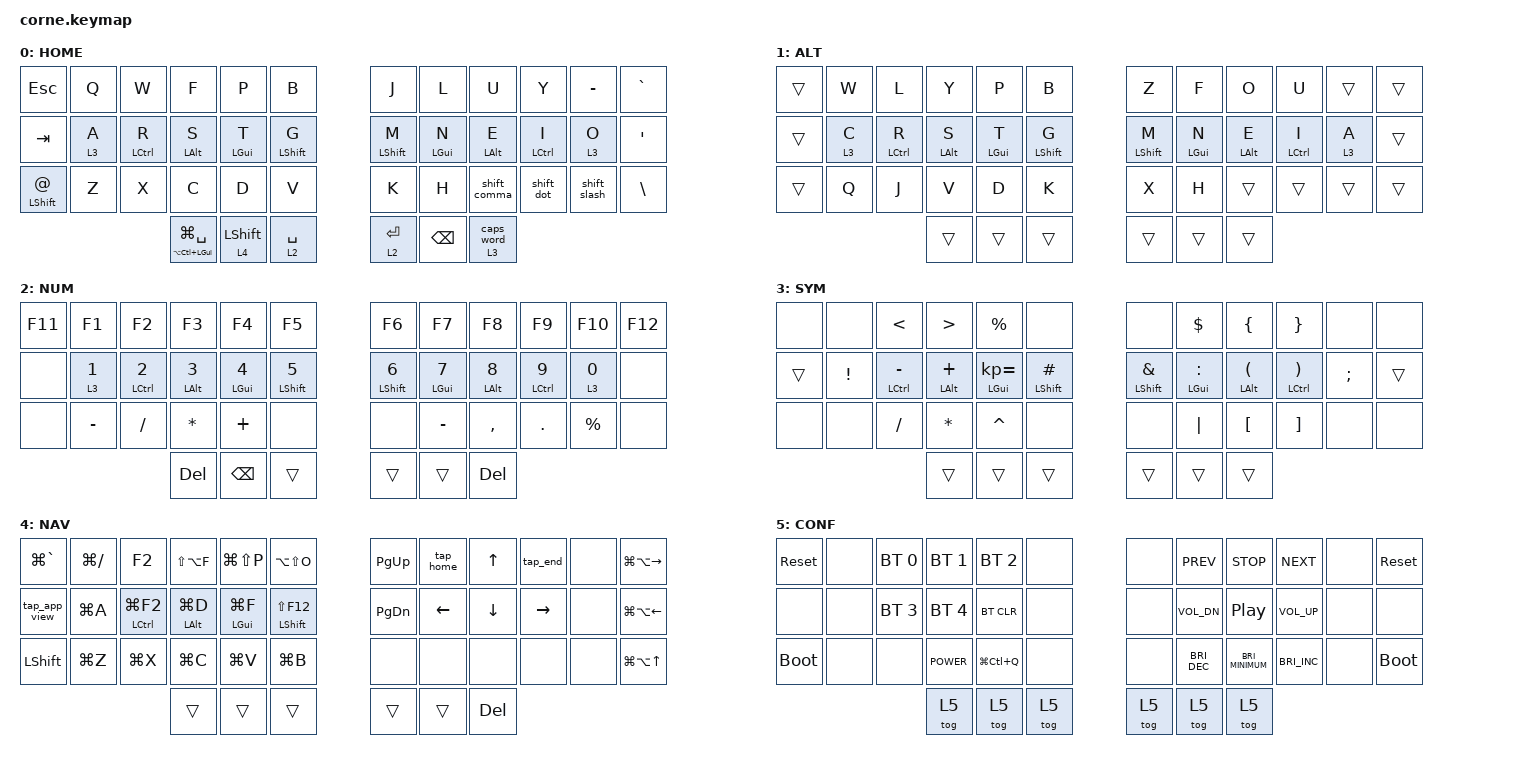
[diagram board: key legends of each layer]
/*
 * Copyright (c) 2020 The ZMK Contributors
 *
 * SPDX-License-Identifier: MIT
 */

#include <behaviors.dtsi>
#include <dt-bindings/zmk/bt.h>
#include <dt-bindings/zmk/keys.h>

/ {
    combos {
        compatible = "zmk,combos";

        activate_config_layer {
            bindings = <&mo 5>;
            key-positions = <37 40>;
            layers = <0>;
        };

        activate_config_layer_left {
            bindings = <&to 5>;
            key-positions = <36 37 38>;
        };

        activate_config_layer_right {
            bindings = <&to 5>;
            key-positions = <39 40 41>;
        };

        toggle_alt_layout {
            bindings = <&tog 2>;
            key-positions = <0 11>;
            layers = <5>;
        };

        chord_num_1 {
            bindings = <&kp NUMBER_1>;
            key-positions = <13 1>;
            layers = <0>;
        };

        chord_num_2 {
            bindings = <&kp NUMBER_2>;
            key-positions = <14 2>;
            layers = <0>;
        };

        chord_num_3 {
            bindings = <&kp NUMBER_3>;
            key-positions = <15 3>;
            layers = <0>;
        };

        chord_num_4 {
            bindings = <&kp NUMBER_4>;
            key-positions = <16 4>;
            layers = <0>;
        };

        chord_num_5 {
            bindings = <&kp NUMBER_5>;
            key-positions = <17 5>;
            layers = <0>;
        };

        chord_num_6 {
            bindings = <&kp NUMBER_6>;
            key-positions = <18 6>;
            layers = <0>;
        };

        chord_num_7 {
            bindings = <&kp NUMBER_7>;
            key-positions = <19 7>;
            layers = <0>;
        };

        chord_num_8 {
            bindings = <&kp NUMBER_8>;
            key-positions = <20 8>;
            layers = <0>;
        };

        chord_num_9 {
            bindings = <&kp NUMBER_9>;
            key-positions = <21 9>;
            layers = <0>;
        };

        chord_num_0 {
            bindings = <&kp NUMBER_0>;
            key-positions = <22 10>;
            layers = <0>;
        };
    };

    behaviors {
        hrr_mod: hrr_mod {
            compatible = "zmk,behavior-hold-tap";
            label = "Home Row Mods - Right";
            bindings = <&kp>, <&kp>;

            #binding-cells = <2>;
            hold-trigger-on-release;
            tapping-term-ms = <280>;
            quick-tap-ms = <175>;
            hold-trigger-key-positions = <0 1 2 4 5 12 13 14 15 16 17 24 25 26 27 28 29 3 36 37 38 39 40 41>;
            flavor = "balanced";
            require-prior-idle-ms = <150>;
        };

        hrl_mod: hrl_mod {
            compatible = "zmk,behavior-hold-tap";
            label = "Home Row Mods - Left";
            bindings = <&kp>, <&kp>;

            #binding-cells = <2>;
            flavor = "balanced";
            tapping-term-ms = <280>;
            quick-tap-ms = <175>;
            require-prior-idle-ms = <150>;
            hold-trigger-key-positions = <6 7 8 9 10 11 18 19 20 21 22 23 30 31 32 33 34 35 36 37 38 39 40 41>;
            hold-trigger-on-release;
        };

        hrr_layer: hrr_layer {
            compatible = "zmk,behavior-hold-tap";
            label = "Home Row Layer - Right";
            bindings = <&mo>, <&kp>;

            #binding-cells = <2>;
            tapping-term-ms = <250>;
            quick-tap-ms = <175>;
            hold-trigger-key-positions = <0 1 2 4 5 12 13 14 15 16 17 24 25 26 27 28 29 3>;
            flavor = "balanced";
            require-prior-idle-ms = <100>;
        };

        hrl_layer: hrl_layer {
            compatible = "zmk,behavior-hold-tap";
            label = "Home Row Layer - Left";
            bindings = <&mo>, <&kp>;

            #binding-cells = <2>;
            flavor = "balanced";
            tapping-term-ms = <250>;
            quick-tap-ms = <175>;
            require-prior-idle-ms = <100>;
            hold-trigger-key-positions = <6 7 8 9 10 11 18 19 20 21 22 23 30 31 32 33 34 35>;
        };

        shift_comma: shift_comma {
            compatible = "zmk,behavior-mod-morph";
            label = "SHIFT_COMMA";
            bindings = <&kp COMMA>, <&kp QUESTION>;

            #binding-cells = <0>;
            mods = <(MOD_LSFT|MOD_RSFT)>;
        };

        shift_dot: shift_dot {
            compatible = "zmk,behavior-mod-morph";
            label = "SHIFT_DOT";
            bindings = <&kp PERIOD>, <&kp EXCLAMATION>;

            #binding-cells = <0>;
            mods = <(MOD_LSFT|MOD_RSFT)>;
        };

        shift_slash: shift_slash {
            compatible = "zmk,behavior-mod-morph";
            label = "SHIFT_SLASH";
            bindings = <&kp SLASH>, <&kp AMPS>;

            #binding-cells = <0>;
            mods = <(MOD_LSFT|MOD_RSFT)>;
        };

        shift_at: shift_at {
            compatible = "zmk,behavior-mod-morph";
            label = "SHIFT_AT";
            bindings = <&kp AT>, <&username>;

            #binding-cells = <0>;
            mods = <(MOD_RSFT|MOD_LSFT)>;
        };

        tap_shift: tap_shift {
            compatible = "zmk,behavior-tap-dance";
            label = "TAP_SHIFT";
            #binding-cells = <0>;
            bindings = <&sk LEFT_SHIFT>, <&caps_word>;
        };

        tap_symbol: tap_symbol {
            compatible = "zmk,behavior-tap-dance";
            label = "TAP_SYMBOL";
            #binding-cells = <0>;
            bindings = <&sl 3>, <&tog 3>;
        };

        tap_bracket_left: tap_bracket_left {
            compatible = "zmk,behavior-tap-dance";
            label = "TAP_BRACKET_LEFT";
            #binding-cells = <0>;
            bindings = <&kp LEFT_BRACE>, <&kp LEFT_BRACKET>;
        };

        tap_bracket_right: tap_bracket_right {
            compatible = "zmk,behavior-tap-dance";
            label = "TAP_BRACKET_RIGHT";
            #binding-cells = <0>;
            bindings = <&kp RIGHT_BRACE>, <&kp RIGHT_BRACKET>;
        };

        tap_app_view: tap_app_view {
            compatible = "zmk,behavior-tap-dance";
            label = "TAP_APP_VIEW";
            #binding-cells = <0>;
            bindings = <&kp LC(DOWN_ARROW)>, <&kp LA(LC(LG(SPACE)))>;
        };

        ht_layer_sk: ht_layer_sk {
            compatible = "zmk,behavior-hold-tap";
            label = "HT_LAYER_SK";
            bindings = <&mo>, <&sk>;

            #binding-cells = <2>;
            tapping-term-ms = <200>;
            flavor = "tap-preferred";
        };

        ht_layer_sl: ht_layer_sl {
            compatible = "zmk,behavior-hold-tap";
            label = "HT_LAYER_SL";
            bindings = <&mo>, <&sl>;

            #binding-cells = <2>;
            tapping-term-ms = <200>;
            flavor = "tap-preferred";
        };

        ht_mod_sk: ht_mod_sk {
            compatible = "zmk,behavior-hold-tap";
            label = "HT_MOD_SK";
            bindings = <&kp>, <&sk>;

            #binding-cells = <2>;
            tapping-term-ms = <200>;
            flavor = "tap-preferred";
        };

        ht_mod_sl: ht_mod_sl {
            compatible = "zmk,behavior-hold-tap";
            label = "HT_MOD_SL";
            bindings = <&kp>, <&sl>;

            #binding-cells = <2>;
            tapping-term-ms = <200>;
            flavor = "tap-preferred";
        };

        ht_caps_word: ht_caps_word {
            compatible = "zmk,behavior-hold-tap";
            label = "HT_CAPS_WORD";
            bindings = <&mo>, <&caps_word>;

            #binding-cells = <2>;
            tapping-term-ms = <200>;
            flavor = "tap-preferred";
        };

        tap_home: tap_home {
            compatible = "zmk,behavior-tap-dance";
            label = "TAP_HOME";
            #binding-cells = <0>;
            bindings = <&kp LG(LEFT)>, <&kp HOME>;
        };

        tap_end: tap_end {
            compatible = "zmk,behavior-tap-dance";
            label = "TAP_END";
            #binding-cells = <0>;
            bindings = <&kp LG(RIGHT)>, <&kp END>;
        };
    };

    macros {
        username: username {
            compatible = "zmk,behavior-macro";
            #binding-cells = <0>;
            bindings = <&none &kp S &kp I &kp N &kp D &kp U &kp N &kp U &kp R &kp A &kp G &kp A &kp R &kp P>;
            label = "USERNAME";
        };
    };

    keymap {
        compatible = "zmk,keymap";

        home_layer {
            bindings = <
&kp ESCAPE         &kp Q           &kp W                    &kp F                       &kp P                      &kp B                    &kp J                  &kp L                &kp U                &kp Y                    &kp MINUS       &kp GRAVE
&kp TAB            &hrl_layer 3 A  &hrl_mod LEFT_CONTROL R  &hrl_mod LEFT_ALT S         &hrl_mod LEFT_GUI T        &hrl_mod LEFT_SHIFT G    &hrr_mod LEFT_SHIFT M  &hrr_mod LEFT_GUI N  &hrr_mod LEFT_ALT E  &hrr_mod LEFT_CONTROL I  &hrr_layer 3 O  &kp APOSTROPHE
&mt LEFT_SHIFT AT  &kp Z           &kp X                    &kp C                       &kp D                      &kp V                    &kp K                  &kp H                &shift_comma         &shift_dot               &shift_slash    &kp BACKSLASH
                                                            &mt LA(LC(LGUI)) LG(SPACE)  &ht_layer_sk 4 LEFT_SHIFT  &lt 2 SPACE              &lt 2 ENTER            &kp BACKSPACE        &ht_caps_word 3 0
            >;

            label = "HOME";
        };

        alt_layer {
            bindings = <
&trans  &kp W           &kp L             &kp Y                &kp P                &kp B                    &kp Z                  &kp F                &kp O                &kp U             &trans          &trans
&trans  &hrl_layer 3 C  &hrl_mod LCTRL R  &hrl_mod LEFT_ALT S  &hrl_mod LEFT_GUI T  &hrl_mod LEFT_SHIFT G    &hrr_mod LEFT_SHIFT M  &hrr_mod LEFT_GUI N  &hrr_mod LEFT_ALT E  &hrr_mod LCTRL I  &hrr_layer 3 A  &trans
&trans  &kp Q           &kp J             &kp V                &kp D                &kp K                    &kp X                  &kp H                &trans               &trans            &trans          &trans
                                          &trans               &trans               &trans                   &trans                 &trans               &trans
            >;

            label = "ALT";
        };

        number_layer {
            bindings = <
&kp F11  &kp F1                 &kp F2                   &kp F3                      &kp F4                      &kp F5                    &kp F6                        &kp F7                      &kp F8                      &kp F9                   &kp F10                &kp F12
&none    &hrl_layer 3 NUMBER_1  &hrl_mod LCTRL NUMBER_2  &hrl_mod LEFT_ALT NUMBER_3  &hrl_mod LEFT_GUI NUMBER_4  &hrl_mod LEFT_SHIFT N5    &hrr_mod LEFT_SHIFT NUMBER_6  &hrr_mod LEFT_GUI NUMBER_7  &hrr_mod LEFT_ALT NUMBER_8  &hrr_mod LCTRL NUMBER_9  &hrr_layer 3 NUMBER_0  &none
&none    &kp MINUS              &kp SLASH                &kp ASTERISK                &kp PLUS                    &none                     &none                         &kp MINUS                   &kp COMMA                   &kp DOT                  &kp PERCENT            &none
                                                         &kp DELETE                  &kp BACKSPACE               &trans                    &trans                        &trans                      &kp DELETE
            >;

            label = "NUM";
        };

        symbol_layer {
            bindings = <
&none   &none            &kp LESS_THAN         &kp GREATER_THAN        &kp PERCENT                 &none                       &none                          &kp DOLLAR               &kp LEFT_BRACE                      &kp RIGHT_BRACE                   &none          &none
&trans  &kp EXCLAMATION  &hrl_mod LCTRL MINUS  &hrl_mod LEFT_ALT PLUS  &hrl_mod LEFT_GUI KP_EQUAL  &hrl_mod LEFT_SHIFT HASH    &hrr_mod LEFT_SHIFT AMPERSAND  &hrr_mod LEFT_GUI COLON  &hrr_mod LEFT_ALT LEFT_PARENTHESIS  &hrr_mod LCTRL RIGHT_PARENTHESIS  &kp SEMICOLON  &trans
&none   &none            &kp SLASH             &kp ASTERISK            &kp CARET                   &none                       &none                          &kp PIPE                 &kp LEFT_BRACKET                    &kp RIGHT_BRACKET                 &none          &none
                                               &trans                  &trans                      &trans                      &trans                         &trans                   &trans
            >;

            label = "SYM";
        };

        navigation_layer {
            bindings = <
&kp LG(GRAVE)   &kp LG(SLASH)  &kp F2                 &kp LS(LA(F))            &kp LG(LS(P))            &kp LA(LS(O))                  &kp PAGE_UP    &tap_home  &kp UP      &tap_end   &none  &kp LG(LA(RIGHT))
&tap_app_view   &kp LG(A)      &hrl_mod LCTRL LG(F2)  &hrl_mod LEFT_ALT LG(D)  &hrl_mod LEFT_GUI LG(F)  &hrl_mod LEFT_SHIFT LS(F12)    &kp PAGE_DOWN  &kp LEFT   &kp DOWN    &kp RIGHT  &none  &kp LG(LA(LEFT))
&kp LEFT_SHIFT  &kp LG(Z)      &kp LG(X)              &kp LG(C)                &kp LG(V)                &kp LG(B)                      &none          &none      &none       &none      &none  &kp LG(LA(UP_ARROW))
                                                      &trans                   &trans                   &trans                         &trans         &trans     &kp DELETE
            >;

            label = "NAV";
        };

        config_layer {
            bindings = <
&sys_reset   &none  &bt BT_SEL 0  &bt BT_SEL 1  &bt BT_SEL 2   &none     &none   &kp C_PREV            &kp C_STOP                &kp C_NEXT            &none  &sys_reset
&none        &none  &bt BT_SEL 3  &bt BT_SEL 4  &bt BT_CLR     &none     &none   &kp C_VOL_DN          &kp C_PLAY_PAUSE          &kp C_VOL_UP          &none  &none
&bootloader  &none  &none         &kp C_POWER   &kp LG(LC(Q))  &none     &none   &kp C_BRIGHTNESS_DEC  &kp C_BRIGHTNESS_MINIMUM  &kp C_BRIGHTNESS_INC  &none  &bootloader
                                  &tog 5        &tog 5         &tog 5    &tog 5  &tog 5                &tog 5
            >;

            label = "CONF";
        };
    };
};
